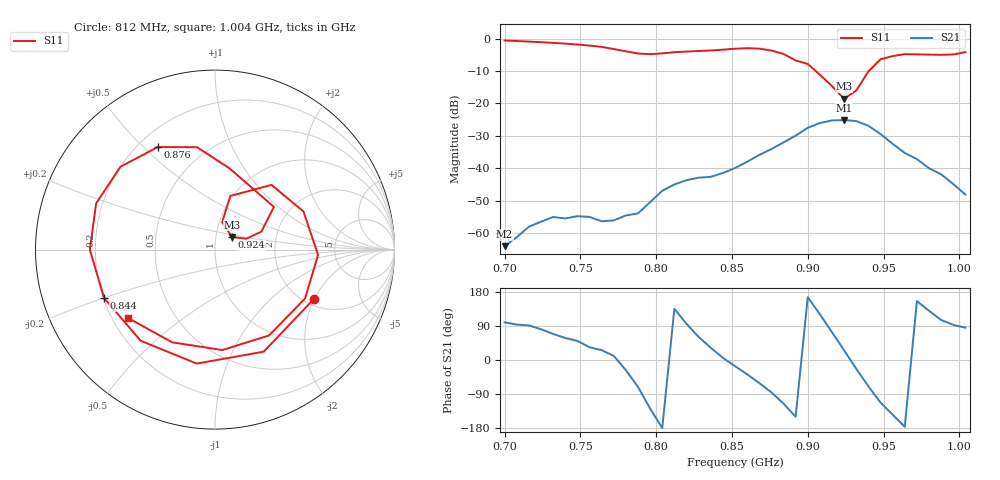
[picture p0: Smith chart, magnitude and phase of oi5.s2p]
# Hz S RI R 50
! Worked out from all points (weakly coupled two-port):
!   39 points, 700 MHz to 1.004 GHz, reference 50 ohm
!   highest |S21| = -25.16 dB at 924 MHz (marker M1); lowest = -64.1 dB at 700 MHz (marker M2)
!   lowest |S11| = -18.6 dB at 924 MHz (marker M3), VSWR 1.27, Z = 59.7 + j8.56 ohm
!   |S11| at or under -10 dB: 905.2 MHz to 940.3 MHz (35.1 MHz wide, 3.8 % of centre)
!   S12 and S22 are empty: the file has one direction only
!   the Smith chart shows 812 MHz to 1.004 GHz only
!   S11 on the Smith chart (normalised r, x): 812 MHz: 2.25, -1.99; 844 MHz: 0.20, -0.20; 876 MHz: 0.28, +0.55; 924 MHz: 1.19, +0.17; 1.004 GHz: 0.26, -0.32
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7e8  0.7532 0.5548  -0.000103 0.000618  0 0  0 0
7.24e8  0.845 -0.2452  0.000227 0.00148  0 0  0 0
7.4e8  0.4599 -0.6978  0.000887 0.00142  0 0  0 0
7.56e8  -0.187 -0.7576  0.00148 0.000983  0 0  0 0
7.72e8  -0.6593 -0.2026  0.00153 0.000296  0 0  0 0
7.8e8  -0.5968 0.22  0.00166 -0.000835  0 0  0 0
7.88e8  -0.2519 0.5332  0.000654 -0.0019  0 0  0 0
7.96e8  0.2354 0.5234  -0.00185 -0.00235  0 0  0 0
8.04e8  0.5632 0.1794  -0.00448 -3.83e-05  0 0  0 0
8.12e8  0.5526 -0.2738  -0.00397 0.00396  0 0  0 0
8.28e8  -0.1018 -0.6351  0.00348 0.00624  0 0  0 0
8.44e8  -0.6176 -0.2699  0.00839 0.00085  0 0  0 0
8.52e8  -0.6975 -0.000701  0.00964 -0.0028  0 0  0 0
8.76e8  -0.3188 0.5714  0.0016 -0.0197  0 0  0 0
9e8  0.3283 0.238  -0.0408 0.0103  0 0  0 0
9.08e8  0.2582 0.1  -0.0254 0.0427  0 0  0 0
9.24e8  0.0943 0.0707  0.0498 0.0238  0 0  0 0
9.4e8  0.0854 0.2989  0.0159 -0.0423  0 0  0 0
9.56e8  0.493 0.2123  -0.0193 -0.0139  0 0  0 0
9.64e8  0.5742 -0.0294  -0.0171 -0.00114  0 0  0 0
9.8e8  0.3012 -0.4784  -0.0064 0.00767  0 0  0 0
1.004e9  -0.486 -0.38  0.000329 0.0039  0 0  0 0
